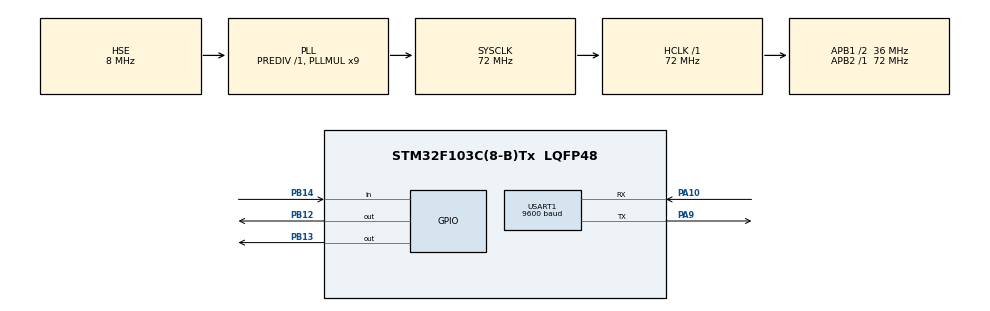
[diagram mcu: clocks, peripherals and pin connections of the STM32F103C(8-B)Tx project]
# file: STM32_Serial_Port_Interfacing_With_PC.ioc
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Mcu.Family=STM32F1
Mcu.Name=STM32F103C(8-B)Tx
Mcu.Package=LQFP48
NVIC.PriorityGroup=NVIC_PRIORITYGROUP_4
NVIC.USART1_IRQn=true\:0\:0\:false\:false\:true\:true\:true
PA10.Mode=Asynchronous
PA10.Signal=USART1_RX
PA13.Mode=Serial_Wire
PA13.Signal=SYS_JTMS-SWDIO
PA14.Mode=Serial_Wire
PA14.Signal=SYS_JTCK-SWCLK
PA9.Mode=Asynchronous
PA9.Signal=USART1_TX
PB12.Signal=GPIO_Output
PB13.Signal=GPIO_Output
PB14.Signal=GPIO_Input
PD0-OSC_IN.Mode=HSE-External-Oscillator
PD0-OSC_IN.Signal=RCC_OSC_IN
PD1-OSC_OUT.Mode=HSE-External-Oscillator
PD1-OSC_OUT.Signal=RCC_OSC_OUT
ProjectManager.HeapSize=0x200
ProjectManager.StackSize=0x400
ProjectManager.TargetToolchain=STM32CubeIDE
RCC.AHBFreq_Value=72000000
RCC.APB1CLKDivider=RCC_HCLK_DIV2
RCC.APB1Freq_Value=36000000
RCC.APB1TimFreq_Value=72000000
RCC.APB2Freq_Value=72000000
RCC.APB2TimFreq_Value=72000000
RCC.HCLKFreq_Value=72000000
RCC.PLLMUL=RCC_PLL_MUL9
RCC.PLLSourceVirtual=RCC_PLLSOURCE_HSE
RCC.SYSCLKFreq_VALUE=72000000
RCC.SYSCLKSource=RCC_SYSCLKSOURCE_PLLCLK
RCC.USBFreq_Value=72000000
USART1.BaudRate=9600
USART1.VirtualMode=VM_ASYNC
board=custom

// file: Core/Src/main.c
/* USER CODE BEGIN Header */
/**
  ******************************************************************************
  * @file           : main.c
  * @brief          : Main program body
  ******************************************************************************
  * @attention
  *
  * <h2><center>&copy; Copyright (c) 2021 STMicroelectronics.
  * All rights reserved.</center></h2>
  *
  * This software component is licensed by ST under BSD 3-Clause license,
  * the "License"; You may not use this file except in compliance with the
  * License. You may obtain a copy of the License at:
  *                        opensource.org/licenses/BSD-3-Clause
  *
  ******************************************************************************
  */
/* USER CODE END Header */
#include "main.h"

UART_HandleTypeDef huart1;

/* USER CODE BEGIN PV */
uint8_t RX1_Char = 0x00;
/* USER CODE END PV */

void SystemClock_Config(void);
static void MX_GPIO_Init(void);
static void MX_USART1_UART_Init(void);

/* USER CODE BEGIN 0 */
//---------[ UART Data Reception Completion CallBackFunc. ]---------
void HAL_USART_RxCpltCallback(UART_HandleTypeDef *huart)
{
    HAL_UART_Receive_IT(&huart1, &RX1_Char, 1);
}
/* USER CODE END 0 */

int main(void)
{
  /* USER CODE BEGIN 1 */
  uint8_t MSG1[] = "Button State: Released\r\n";
  uint8_t MSG2[] = "Button State: Pressed\r\n";
  /* USER CODE END 1 */

  /* MCU Configuration--------------------------------------------------------*/

  /* Reset of all peripherals, Initializes the Flash interface and the Systick. */
  HAL_Init();

  /* Configure the system clock */
  SystemClock_Config();

  /* Initialize all configured peripherals */
  MX_GPIO_Init();
  MX_USART1_UART_Init();
  /* USER CODE BEGIN 2 */
  HAL_UART_Receive_IT(&huart1, &RX1_Char, 1);
  /* USER CODE END 2 */

  /* Infinite loop */
  /* USER CODE BEGIN WHILE */
  while (1)
  {
    //--------[ Read The Button State & Send It Via UART ]---------
    if(HAL_GPIO_ReadPin (GPIOB, GPIO_PIN_14))
    {
      HAL_UART_Transmit(&huart1, MSG2, sizeof(MSG2), 100);
    }
    else
    {
      HAL_UART_Transmit(&huart1, MSG1, sizeof(MSG1), 100);
    }
    //--------[ Read The Received Character & Toggle LEDs Accordingly ]--------
    if(RX1_Char == '1')
    {
      HAL_GPIO_TogglePin(GPIOB, GPIO_PIN_12);
      HAL_UART_Receive_IT(&huart1, &RX1_Char, 1);
      RX1_Char = 0x00;
    }
    if(RX1_Char == '2')
    {
      HAL_GPIO_TogglePin(GPIOB, GPIO_PIN_13);
      HAL_UART_Receive_IT(&huart1, &RX1_Char, 1);
      RX1_Char = 0x00;
    }
    HAL_Delay(100);
    /* USER CODE END WHILE */

  }
}

void SystemClock_Config(void)
{
  RCC_OscInitTypeDef RCC_OscInitStruct = {0};
  RCC_ClkInitTypeDef RCC_ClkInitStruct = {0};

  /** Initializes the RCC Oscillators according to the specified parameters
  * in the RCC_OscInitTypeDef structure.
  */
  RCC_OscInitStruct.OscillatorType = RCC_OSCILLATORTYPE_HSE;
  RCC_OscInitStruct.HSEState = RCC_HSE_ON;
  RCC_OscInitStruct.HSEPredivValue = RCC_HSE_PREDIV_DIV1;
  RCC_OscInitStruct.HSIState = RCC_HSI_ON;
  RCC_OscInitStruct.PLL.PLLState = RCC_PLL_ON;
  RCC_OscInitStruct.PLL.PLLSource = RCC_PLLSOURCE_HSE;
  RCC_OscInitStruct.PLL.PLLMUL = RCC_PLL_MUL9;
  if (HAL_RCC_OscConfig(&RCC_OscInitStruct) != HAL_OK)
  {
    Error_Handler();
  }
  /** Initializes the CPU, AHB and APB buses clocks
  */
  RCC_ClkInitStruct.ClockType = RCC_CLOCKTYPE_HCLK|RCC_CLOCKTYPE_SYSCLK
                              |RCC_CLOCKTYPE_PCLK1|RCC_CLOCKTYPE_PCLK2;
  RCC_ClkInitStruct.SYSCLKSource = RCC_SYSCLKSOURCE_PLLCLK;
  RCC_ClkInitStruct.AHBCLKDivider = RCC_SYSCLK_DIV1;
  RCC_ClkInitStruct.APB1CLKDivider = RCC_HCLK_DIV2;
  RCC_ClkInitStruct.APB2CLKDivider = RCC_HCLK_DIV1;

  if (HAL_RCC_ClockConfig(&RCC_ClkInitStruct, FLASH_LATENCY_2) != HAL_OK)
  {
    Error_Handler();
  }
}

static void MX_USART1_UART_Init(void)
{

  huart1.Instance = USART1;
  huart1.Init.BaudRate = 9600;
  huart1.Init.WordLength = UART_WORDLENGTH_8B;
  huart1.Init.StopBits = UART_STOPBITS_1;
  huart1.Init.Parity = UART_PARITY_NONE;
  huart1.Init.Mode = UART_MODE_TX_RX;
  huart1.Init.HwFlowCtl = UART_HWCONTROL_NONE;
  huart1.Init.OverSampling = UART_OVERSAMPLING_16;
  if (HAL_UART_Init(&huart1) != HAL_OK)
  {
    Error_Handler();
  }

}

static void MX_GPIO_Init(void)
{
  GPIO_InitTypeDef GPIO_InitStruct = {0};

  /* GPIO Ports Clock Enable */
  __HAL_RCC_GPIOD_CLK_ENABLE();
  __HAL_RCC_GPIOB_CLK_ENABLE();
  __HAL_RCC_GPIOA_CLK_ENABLE();

  /*Configure GPIO pin Output Level */
  HAL_GPIO_WritePin(GPIOB, GPIO_PIN_12|GPIO_PIN_13, GPIO_PIN_RESET);

  /*Configure GPIO pins : PB12 PB13 */
  GPIO_InitStruct.Pin = GPIO_PIN_12|GPIO_PIN_13;
  GPIO_InitStruct.Mode = GPIO_MODE_OUTPUT_PP;
  GPIO_InitStruct.Pull = GPIO_NOPULL;
  GPIO_InitStruct.Speed = GPIO_SPEED_FREQ_LOW;
  HAL_GPIO_Init(GPIOB, &GPIO_InitStruct);

  /*Configure GPIO pin : PB14 */
  GPIO_InitStruct.Pin = GPIO_PIN_14;
  GPIO_InitStruct.Mode = GPIO_MODE_INPUT;
  GPIO_InitStruct.Pull = GPIO_NOPULL;
  HAL_GPIO_Init(GPIOB, &GPIO_InitStruct);

}

void Error_Handler(void)
{
  __disable_irq();
  while (1)
  {
  }
}

/************************ (C) COPYRIGHT STMicroelectronics *****END OF FILE****/
